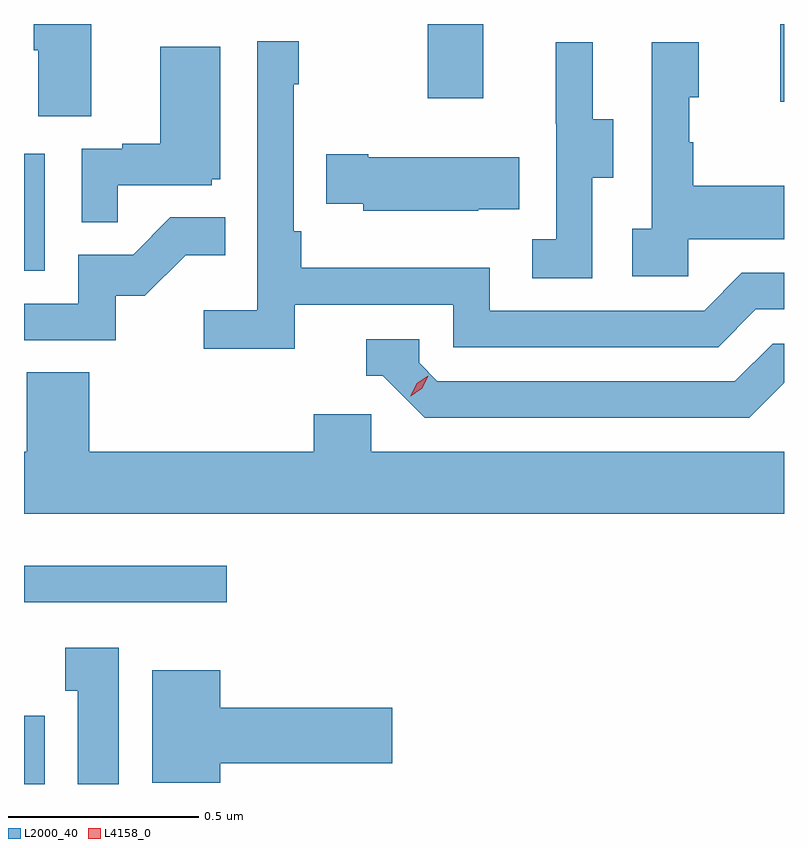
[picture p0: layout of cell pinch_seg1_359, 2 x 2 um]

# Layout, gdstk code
import gdstk
lib = gdstk.Library(unit=1e-6, precision=1e-09)
def R(c, l, rs):  # rectangles x0, y0, x1, y1
    for r in rs: c.add(gdstk.rectangle(r[:2], r[2:], *l))
def P(c, l, *ps):  # polygons
    for p in ps: c.add(gdstk.Polygon(p, *l))
L2000_40 = (2000, 40)
L4158_0 = (4158, 0)

pinch_seg1_359 = lib.new_cell('pinch_seg1_359')
R(pinch_seg1_359, L2000_40, [(965.074,559.013,965.128,559.192), (965.074,559.491,965.608,559.588), (965.074,560.364,965.128,560.671), (967.064,560.808,967.074,561.013), (966.136,560.817,966.283,561.013)])
P(pinch_seg1_359, L2000_40, [(965.251,561.013),(965.099,561.013),(965.099,560.944),(965.111,560.944),(965.111,560.77),(965.251,560.77)],
  [(965.786,560.274),(966.204,560.274),(966.204,560.163),(966.901,560.163),(967,560.262),(967.074,560.262),(967.074,560.358),(966.963,560.358),(966.864,560.259),(966.3,560.259),(966.3,560.371),(965.804,560.371),(965.804,560.467),(965.784,560.467),(965.784,560.855),(965.797,560.855),(965.797,560.968),(965.688,560.968),(965.688,560.26),(965.547,560.26),(965.547,560.158),(965.786,560.158)],
  [(966.57,560.608),(966.625,560.608),(966.625,560.763),(966.571,560.763),(966.571,560.965),(966.473,560.965),(966.473,560.751),(966.474,560.751),(966.474,560.447),(966.411,560.447),(966.411,560.344),(966.57,560.344)],
  [(966.822,560.447),(967.074,560.447),(967.074,560.587),(966.835,560.587),(966.835,560.702),(966.825,560.702),(966.825,560.82),(966.85,560.82),(966.85,560.965),(966.726,560.965),(966.726,560.474),(966.675,560.474),(966.675,560.349),(966.822,560.349)],
  [(965.321,560.589),(965.568,560.589),(965.568,560.604),(965.59,560.604),(965.59,560.953),(965.432,560.953),(965.432,560.698),(965.333,560.698),(965.333,560.685),(965.226,560.685),(965.226,560.491),(965.321,560.491)],
  [(966.269,560.525),(966.377,560.525),(966.377,560.662),(965.98,560.662),(965.98,560.67),(965.869,560.67),(965.869,560.54),(965.967,560.54),(965.967,560.522),(966.269,560.522)],
  [(965.316,560.298),(965.392,560.298),(965.499,560.405),(965.603,560.405),(965.603,560.504),(965.459,560.504),(965.361,560.406),(965.217,560.406),(965.217,560.277),(965.074,560.277),(965.074,560.181),(965.316,560.181)],
  [(967.074,560.069),(967.074,560.172),(967.044,560.172),(966.945,560.073),(966.162,560.073),(966.114,560.121),(966.114,560.184),(965.975,560.184),(965.975,560.088),(966.018,560.088),(966.129,559.977),(966.982,559.977)],
  [(967.074,559.888),(965.988,559.888),(965.988,559.986),(965.837,559.986),(965.837,559.888),(965.246,559.888),(965.246,560.096),(965.081,560.096),(965.081,559.888),(965.074,559.888),(965.074,559.724),(967.074,559.724)],
  [(965.323,559.372),(965.183,559.372),(965.183,559.259),(965.216,559.259),(965.216,559.013),(965.323,559.013)],
  [(965.59,559.067),(966.043,559.067),(966.043,559.214),(965.59,559.214),(965.59,559.312),(965.411,559.312),(965.411,559.016),(965.59,559.016)])
P(pinch_seg1_359, L4158_0, [(966.092,560.034),(966.092,560.035),(966.107,560.067),(966.138,560.087),(966.138,560.087),(966.138,560.087),(966.122,560.054),(966.092,560.034)])

lib.write_gds('pinch_seg1_359.gds')
